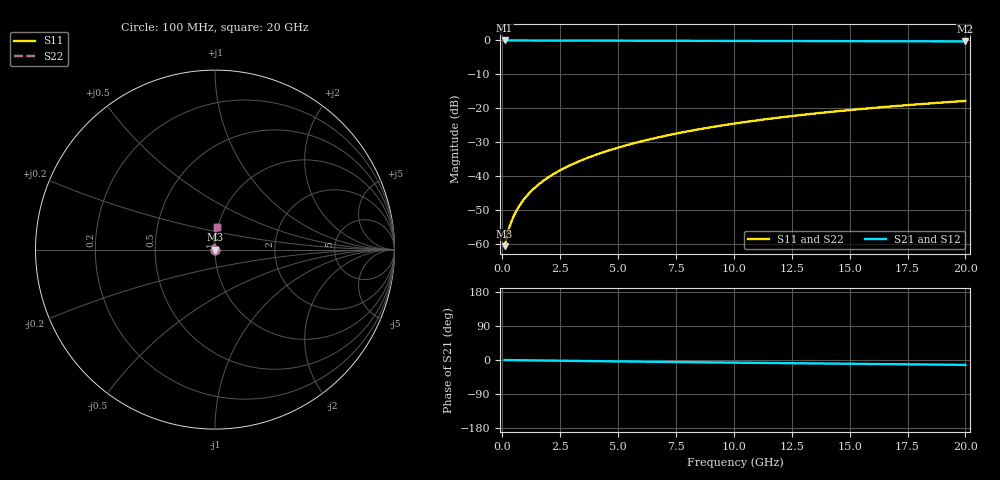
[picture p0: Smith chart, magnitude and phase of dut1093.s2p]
! Touchstone file exported from HFSS 2024.1.0
!  File:  C:/UserFiles/LocalFiles/RDL_TSV_Batchsim/temp_RDL_top_1093_1780046058.aedt
!  Generated:  05:16:20 PM May 29, 2026
!  Design:  RDL_top
!  Project:  temp_RDL_top_1093_1780046058
!  Setup:  Setup1
!  Solution:  Sweep
! Variables:
!  dtsv = 10.80580581um
!  hbump = 3um
!  htsv = 66.43um
!  ldown = 100um
!  lrdl = 162.7um
!  p = 40
!  p1 = 53.1um
!  rhole = 1um
!  t = 450um
!  tdown = 3.915915916um
!  trdl = 3.77um
!  wdown = 15.38538539um
!  wrdl = 29.74um
# GHz S MA R 50.000000
! Terminal data exported
! Port[1] = Box2_T1
! Port[2] = Box2_T2
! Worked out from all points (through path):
!   200 points, 100 MHz to 20 GHz, reference 50 ohm
!   highest |S21| = -0.01 dB at 100 MHz (marker M1); lowest = -0.3 dB at 20 GHz (marker M2)
!   group delay of S21, straight-line fit = 1.76 ps
!   lowest |S11| = -60.6 dB at 100 MHz (marker M3), VSWR 1.00, Z = 50.1 + j0.0548 ohm
!   |S11| at or under -10 dB: start of sweep to end of sweep
!   |S22| runs from -60.6 to -17.8 dB; largest |S21 - S12| = 4e-15
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0.1  0.0009332 35.9  0.9992 -0.1  0.9992 -0.1  0.0009332 35.9
! Gamma 0 0 0 0
! Port Impedance 50 0 50 0
0.2  0.001328 52.8  0.9992 -0.2  0.9992 -0.2  0.001328 52.8
0.3  0.001751 61.3  0.9991 -0.2  0.9991 -0.2  0.001751 61.3
0.4  0.00218 66.7  0.999 -0.3  0.999 -0.3  0.00218 66.7
0.5  0.002614 70.7  0.999 -0.4  0.999 -0.4  0.002614 70.7
0.6  0.003054 73.6  0.9989 -0.5  0.9989 -0.5  0.003054 73.6
0.8  0.003953 77.9  0.9988 -0.6  0.9988 -0.6  0.003953 77.9
1.1  0.005339 82.1  0.9986 -0.9  0.9986 -0.9  0.005339 82.1
1.3  0.006282 84.0  0.9985 -1.0  0.9985 -1.0  0.006282 84.0
1.6  0.007724 86.2  0.9982 -1.2  0.9982 -1.2  0.007724 86.2
2.1  0.0102 88.8  0.9976 -1.6  0.9976 -1.6  0.0102 88.8
2.7  0.01328 91.0  0.9968 -2.1  0.9968 -2.1  0.01328 91.0
3.5  0.01761 92.9  0.9955 -2.7  0.9955 -2.7  0.01761 92.9
4.2  0.0216 93.9  0.9942 -3.2  0.9942 -3.2  0.0216 93.9
5  0.02637 94.6  0.9926 -3.7  0.9926 -3.7  0.02637 94.6
5.9  0.03198 94.9  0.9907 -4.3  0.9907 -4.3  0.03198 94.9
6.8  0.0378 94.9  0.9889 -4.9  0.9889 -4.9  0.0378 94.9
8.4  0.04851 94.2  0.9857 -5.9  0.9857 -5.9  0.04851 94.2
10.1  0.0602 93.0  0.9826 -7.0  0.9826 -7.0  0.0602 93.1
13.4  0.0832 90.2  0.9772 -9.0  0.9772 -9.0  0.0832 90.2
16.7  0.1061 87.3  0.9724 -10.9  0.9724 -10.9  0.1061 87.3
20  0.1286 84.5  0.9677 -12.9  0.9677 -12.9  0.1286 84.5
